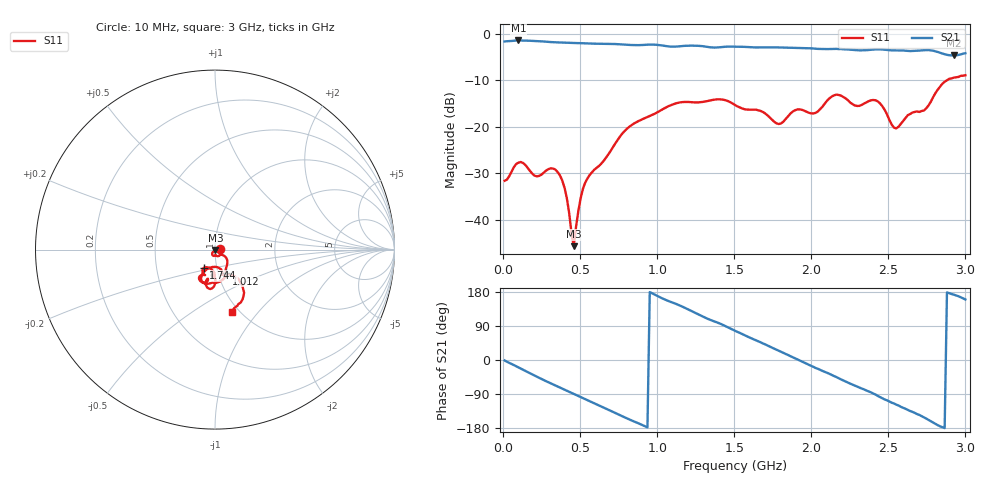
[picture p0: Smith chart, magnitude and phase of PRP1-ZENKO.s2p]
!File created by NanoVNA
# Hz S RI R 50
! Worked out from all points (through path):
!   201 points, 10 MHz to 3 GHz, reference 50 ohm
!   highest |S21| = -1.46 dB at 99.7 MHz (marker M1); lowest = -4.7 dB at 2.925 GHz (marker M2)
!   group delay of S21, straight-line fit = 517 ps
!   lowest |S11| = -45.7 dB at 458.5 MHz (marker M3), VSWR 1.01, Z = 50.2 - j0.491 ohm
!   |S11| at or under -10 dB: start of sweep to 2.88 GHz
!   S12 and S22 are empty: the file has one direction only
!   S11 on the Smith chart (normalised r, x): 10 MHz: 1.05, +0.01; 1.012 GHz: 1.09, -0.30; 1.744 GHz: 0.87, -0.18; 3 GHz: 0.93, -0.73
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1e7  0.0261 0.00288  0.824 -0.0172  0 0  0 0
9.97e7  0.0303 -0.0278  0.7963 -0.2831  0 0  0 0
2.0435e8  0.0032 -0.0296  0.6303 -0.5487  0 0  0 0
3.09e8  -0.00665 -0.0351  0.3876 -0.7137  0 0  0 0
3.688e8  -0.0158 -0.0256  0.2402 -0.767  0 0  0 0
4.1365e8  -0.0114 -0.0129  0.1244 -0.7888  0 0  0 0
4.585e8  0.0018 -0.00489  0.00918 -0.7939  0 0  0 0
5.183e8  0.0193 -0.00947  -0.1449 -0.7753  0 0  0 0
7.7245e8  0.0656 -0.0524  -0.6524 -0.401  0 0  0 0
1.01165e9  0.0611 -0.1329  -0.7346 0.1712  0 0  0 0
1.28075e9  -0.0167 -0.1827  -0.3414 0.6543  0 0  0 0
1.505e9  -0.0856 -0.1485  0.1608 0.706  0 0  0 0
1.7442e9  -0.0625 -0.102  0.599 0.3861  0 0  0 0
2.0133e9  -0.0129 -0.1385  0.6585 -0.2134  0 0  0 0
2.1628e9  -0.0269 -0.2197  0.4855 -0.4854  0 0  0 0
2.29735e9  -0.04 -0.1624  0.2252 -0.6245  0 0  0 0
2.41695e9  -0.0715 -0.1786  -0.0134 -0.678  0 0  0 0
2.50665e9  -0.0459 -0.1092  -0.2225 -0.6264  0 0  0 0
2.5515e9  0.00128 -0.0961  -0.3076 -0.5834  0 0  0 0
2.7608e9  0.0936 -0.1413  -0.6188 -0.2481  0 0  0 0
2.92525e9  0.125 -0.3131  -0.5788 0.0767  0 0  0 0
3e9  0.0935 -0.3452  -0.5784 0.2132  0 0  0 0
